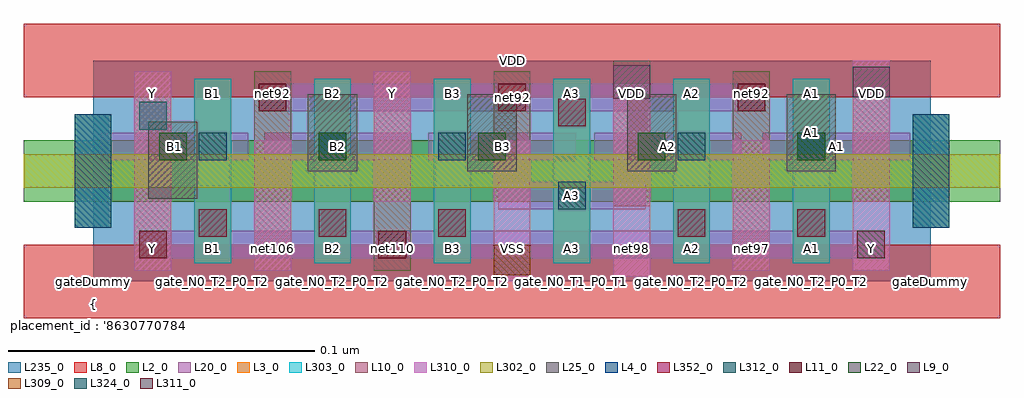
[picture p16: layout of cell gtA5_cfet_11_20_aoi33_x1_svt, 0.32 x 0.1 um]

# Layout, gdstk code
import gdstk
lib = gdstk.Library(unit=1e-6, precision=2.5e-10)
def R(c, l, rs):  # rectangles x0, y0, x1, y1
    for r in rs: c.add(gdstk.rectangle(r[:2], r[2:], *l))
def A(c, l, x, y, w, h, nx, ny, dx, dy):  # array of equal rectangles
    R(c, l, [(x+i*dx, y+j*dy, x+i*dx+w, y+j*dy+h) for i in range(nx) for j in range(ny)])
L2_0 = (2, 0)
L3_0 = (3, 0)
L4_0 = (4, 0)
L8_0 = (8, 0)
L9_0 = (9, 0)
L10_0 = (10, 0)
L11_0 = (11, 0)
L20_0 = (20, 0)
L22_0 = (22, 0)
L25_0 = (25, 0)
L235_0 = (235, 0)
L302_0 = (302, 0)
L303_0 = (303, 0)
L309_0 = (309, 0)
L310_0 = (310, 0)
L311_0 = (311, 0)
L312_0 = (312, 0)
L324_0 = (324, 0)
L352_0 = (352, 0)

gta5_cfet_11_20_aoi33_x1 = lib.new_cell('gtA5_cfet_11_20_aoi33_x1_svt')
R(gta5_cfet_11_20_aoi33_x1, L2_0, [(-0.0225,0.026,0.2955,0.046)])
A(gta5_cfet_11_20_aoi33_x1, L3_0, 0.033, 0.006, 0.012, 0.06, 6, 1, 0.039, 0)
R(gta5_cfet_11_20_aoi33_x1, L3_0, [(-0.006,0.0175,0.006,0.0545), (0.267,0.0175,0.279,0.0545)])
R(gta5_cfet_11_20_aoi33_x1, L4_0, [(-0.006,0.0175,0.006,0.0545), (0.267,0.0175,0.279,0.0545)])
R(gta5_cfet_11_20_aoi33_x1, L8_0, [(-0.0225,-0.012,0.2955,0.012), (-0.0225,0.06,0.2955,0.084)])
R(gta5_cfet_11_20_aoi33_x1, L9_0, [(0.1695,0.0595,0.1815,0.0705), (0.2475,0.06,0.2595,0.07)])
A(gta5_cfet_11_20_aoi33_x1, L10_0, 0.0135, 0.0035, 0.012, 0.065, 3, 1, 0.039, 0)
R(gta5_cfet_11_20_aoi33_x1, L10_0, [(0.2085,0.0035,0.2205,0.0685), (0.1695,0.0245,0.1815,0.072), (0.1305,0.026,0.1425,0.0685), (0.2475,0.026,0.2595,0.072)])
A(gta5_cfet_11_20_aoi33_x1, L11_0, 0.054, 0.0555, 0.009, 0.009, 3, 1, 0.078, 0)
R(gta5_cfet_11_20_aoi33_x1, L11_0, [(0.015,0.0075,0.024,0.0165), (0.093,0.0075,0.102,0.0165)])
R(gta5_cfet_11_20_aoi33_x1, L20_0, [(0.015,0.0075,0.258,0.0165), (0.132,0.0235,0.18,0.0325), (0.0025,0.0395,0.0505,0.0485), (0.0558,0.0395,0.1038,0.0485), (0.1092,0.0395,0.1573,0.0485), (0.1633,0.0395,0.2112,0.0485), (0.2182,0.0395,0.2662,0.0485), (0.054,0.0555,0.219,0.0645)])
A(gta5_cfet_11_20_aoi33_x1, L22_0, 0.0215, 0.0395, 0.009, 0.009, 5, 1, 0.052, 0)
A(gta5_cfet_11_20_aoi33_x1, L25_0, 0.07, 0.036, 0.016, 0.025, 4, 1, 0.052, 0)
R(gta5_cfet_11_20_aoi33_x1, L25_0, [(0.018,0.027,0.034,0.052)])
R(gta5_cfet_11_20_aoi33_x1, L235_0, [(0,0,0.273,0.072)])
R(gta5_cfet_11_20_aoi33_x1, L302_0, [(-0.0225,0.0305,0.2955,0.0415)])
A(gta5_cfet_11_20_aoi33_x1, L303_0, 0.033, 0.006, 0.012, 0.06, 6, 1, 0.039, 0)
R(gta5_cfet_11_20_aoi33_x1, L303_0, [(-0.006,0.0175,0.006,0.0545), (0.267,0.0175,0.279,0.0545)])
R(gta5_cfet_11_20_aoi33_x1, L309_0, [(0.1305,0.002,0.1425,0.012)])
R(gta5_cfet_11_20_aoi33_x1, L310_0, [(0.1305,0,0.1425,0.046), (0.1695,0.0015,0.1815,0.0705), (0.0135,0.0035,0.0255,0.0685), (0.0525,0.0035,0.0645,0.046), (0.2085,0.0035,0.2205,0.046), (0.2475,0.0035,0.2595,0.072), (0.0915,0.026,0.1035,0.0685)])
R(gta5_cfet_11_20_aoi33_x1, L311_0, [(0.249,0.0075,0.258,0.0165)])
A(gta5_cfet_11_20_aoi33_x1, L312_0, 0.0345, 0.0395, 0.009, 0.009, 3, 1, 0.039, 0)
R(gta5_cfet_11_20_aoi33_x1, L312_0, [(0.1515,0.0235,0.1605,0.0325), (0.1905,0.0395,0.1995,0.0485), (0.2295,0.0395,0.2385,0.0485)])
R(gta5_cfet_11_20_aoi33_x1, L324_0, [(0.015,0.0495,0.024,0.0585)])
A(gta5_cfet_11_20_aoi33_x1, L352_0, 0.0345, 0.0145, 0.009, 0.009, 3, 1, 0.039, 0)
R(gta5_cfet_11_20_aoi33_x1, L352_0, [(0.1905,0.0145,0.1995,0.0235), (0.2295,0.0145,0.2385,0.0235), (0.1515,0.0505,0.1605,0.0595)])
gta5_cfet_11_20_aoi33_x1.add(gdstk.Label('B1', (0.0265,0.044), layer=100, texttype=100))
gta5_cfet_11_20_aoi33_x1.add(gdstk.Label('B2', (0.0798,0.044), layer=100, texttype=100))
gta5_cfet_11_20_aoi33_x1.add(gdstk.Label('B3', (0.1333,0.044), layer=100, texttype=100))
gta5_cfet_11_20_aoi33_x1.add(gdstk.Label('A2', (0.1872,0.044), layer=100, texttype=100))
gta5_cfet_11_20_aoi33_x1.add(gdstk.Label('A1', (0.2422,0.044), layer=100, texttype=100))
gta5_cfet_11_20_aoi33_x1.add(gdstk.Label('net92', (0.1365,0.06), layer=100, texttype=100))
gta5_cfet_11_20_aoi33_x1.add(gdstk.Label('gateDummy', (0,0), layer=103, texttype=103))
gta5_cfet_11_20_aoi33_x1.add(gdstk.Label('sd_N0_T0_P0_T0', (0.0195,0), layer=103, texttype=103))
gta5_cfet_11_20_aoi33_x1.add(gdstk.Label('gate_N0_T2_P0_T2', (0.039,0), layer=103, texttype=103))
gta5_cfet_11_20_aoi33_x1.add(gdstk.Label('sd_N0_abut_P0_T3', (0.0585,0), layer=103, texttype=103))
gta5_cfet_11_20_aoi33_x1.add(gdstk.Label('gate_N0_T2_P0_T2', (0.078,0), layer=103, texttype=103))
gta5_cfet_11_20_aoi33_x1.add(gdstk.Label('sd_N0_abut_P0_T0', (0.0975,0), layer=103, texttype=103))
gta5_cfet_11_20_aoi33_x1.add(gdstk.Label('gate_N0_T2_P0_T2', (0.117,0), layer=103, texttype=103))
gta5_cfet_11_20_aoi33_x1.add(gdstk.Label('sd_N0_VSS_P0_T3', (0.1365,0), layer=103, texttype=103))
gta5_cfet_11_20_aoi33_x1.add(gdstk.Label('gate_N0_T1_P0_T1', (0.156,0), layer=103, texttype=103))
gta5_cfet_11_20_aoi33_x1.add(gdstk.Label('sd_P0_VDD', (0.1755,0), layer=103, texttype=103))
gta5_cfet_11_20_aoi33_x1.add(gdstk.Label('gate_N0_T2_P0_T2', (0.195,0), layer=103, texttype=103))
gta5_cfet_11_20_aoi33_x1.add(gdstk.Label('sd_N0_abut_P0_T3', (0.2145,0), layer=103, texttype=103))
gta5_cfet_11_20_aoi33_x1.add(gdstk.Label('gate_N0_T2_P0_T2', (0.234,0), layer=103, texttype=103))
gta5_cfet_11_20_aoi33_x1.add(gdstk.Label('sd_N0_T0_P0_VDD', (0.2535,0), layer=103, texttype=103))
gta5_cfet_11_20_aoi33_x1.add(gdstk.Label('gateDummy', (0.273,0), layer=103, texttype=103))
gta5_cfet_11_20_aoi33_x1.add(gdstk.Label('}', (0,-0.0785), layer=104, texttype=104))
gta5_cfet_11_20_aoi33_x1.add(gdstk.Label('  power : None', (0,-0.0713), layer=104, texttype=104))
gta5_cfet_11_20_aoi33_x1.add(gdstk.Label('  performance : None', (0,-0.0643), layer=104, texttype=104))
gta5_cfet_11_20_aoi33_x1.add(gdstk.Label("  solution_hash : '4875563966605678441'", (0,-0.057), layer=104, texttype=104))
gta5_cfet_11_20_aoi33_x1.add(gdstk.Label('  number_m2 : 0', (0,-0.05), layer=104, texttype=104))
gta5_cfet_11_20_aoi33_x1.add(gdstk.Label('  number_m1 : 5', (0,-0.0428), layer=104, texttype=104))
gta5_cfet_11_20_aoi33_x1.add(gdstk.Label('  number_m0cuts : 0', (0,-0.0358), layer=104, texttype=104))
gta5_cfet_11_20_aoi33_x1.add(gdstk.Label('  number_m0 : 8', (0,-0.0285), layer=104, texttype=104))
gta5_cfet_11_20_aoi33_x1.add(gdstk.Label("  solution_number : '0000'", (0,-0.0215), layer=104, texttype=104))
gta5_cfet_11_20_aoi33_x1.add(gdstk.Label("  placement_id : '8630770784587703532'", (0,-0.0143), layer=104, texttype=104))
gta5_cfet_11_20_aoi33_x1.add(gdstk.Label('{', (0,-0.0073), layer=104, texttype=104))
gta5_cfet_11_20_aoi33_x1.add(gdstk.Label('Y', (0.0195,0.0108), layer=105, texttype=105))
gta5_cfet_11_20_aoi33_x1.add(gdstk.Label('B1', (0.039,0.0108), layer=105, texttype=105))
gta5_cfet_11_20_aoi33_x1.add(gdstk.Label('net106', (0.0585,0.0108), layer=105, texttype=105))
gta5_cfet_11_20_aoi33_x1.add(gdstk.Label('B2', (0.078,0.0108), layer=105, texttype=105))
gta5_cfet_11_20_aoi33_x1.add(gdstk.Label('net110', (0.0975,0.0108), layer=105, texttype=105))
gta5_cfet_11_20_aoi33_x1.add(gdstk.Label('B3', (0.117,0.0108), layer=105, texttype=105))
gta5_cfet_11_20_aoi33_x1.add(gdstk.Label('VSS', (0.1365,0.0108), layer=105, texttype=105))
gta5_cfet_11_20_aoi33_x1.add(gdstk.Label('A3', (0.156,0.0108), layer=105, texttype=105))
gta5_cfet_11_20_aoi33_x1.add(gdstk.Label('net98', (0.1755,0.0108), layer=105, texttype=105))
gta5_cfet_11_20_aoi33_x1.add(gdstk.Label('A2', (0.195,0.0108), layer=105, texttype=105))
gta5_cfet_11_20_aoi33_x1.add(gdstk.Label('net97', (0.2145,0.0108), layer=105, texttype=105))
gta5_cfet_11_20_aoi33_x1.add(gdstk.Label('A1', (0.234,0.0108), layer=105, texttype=105))
gta5_cfet_11_20_aoi33_x1.add(gdstk.Label('Y', (0.2535,0.0108), layer=105, texttype=105))
gta5_cfet_11_20_aoi33_x1.add(gdstk.Label('Y', (0.0195,0.0612), layer=105, texttype=105))
gta5_cfet_11_20_aoi33_x1.add(gdstk.Label('B1', (0.039,0.0612), layer=105, texttype=105))
gta5_cfet_11_20_aoi33_x1.add(gdstk.Label('net92', (0.0585,0.0612), layer=105, texttype=105))
gta5_cfet_11_20_aoi33_x1.add(gdstk.Label('B2', (0.078,0.0612), layer=105, texttype=105))
gta5_cfet_11_20_aoi33_x1.add(gdstk.Label('Y', (0.0975,0.0612), layer=105, texttype=105))
gta5_cfet_11_20_aoi33_x1.add(gdstk.Label('B3', (0.117,0.0612), layer=105, texttype=105))
gta5_cfet_11_20_aoi33_x1.add(gdstk.Label('net92', (0.1365,0.0612), layer=105, texttype=105))
gta5_cfet_11_20_aoi33_x1.add(gdstk.Label('A3', (0.156,0.0612), layer=105, texttype=105))
gta5_cfet_11_20_aoi33_x1.add(gdstk.Label('VDD', (0.1755,0.0612), layer=105, texttype=105))
gta5_cfet_11_20_aoi33_x1.add(gdstk.Label('A2', (0.195,0.0612), layer=105, texttype=105))
gta5_cfet_11_20_aoi33_x1.add(gdstk.Label('net92', (0.2145,0.0612), layer=105, texttype=105))
gta5_cfet_11_20_aoi33_x1.add(gdstk.Label('A1', (0.234,0.0612), layer=105, texttype=105))
gta5_cfet_11_20_aoi33_x1.add(gdstk.Label('VDD', (0.2535,0.0612), layer=105, texttype=105))
gta5_cfet_11_20_aoi33_x1.add(gdstk.Label('VSS', (0.1365,0), layer=8, texttype=0))
gta5_cfet_11_20_aoi33_x1.add(gdstk.Label('VDD', (0.1365,0.072), layer=8, texttype=0))
gta5_cfet_11_20_aoi33_x1.add(gdstk.Label('Y', (0.1365,0.012), layer=20, texttype=251))
gta5_cfet_11_20_aoi33_x1.add(gdstk.Label('A3', (0.156,0.028), layer=20, texttype=251))
gta5_cfet_11_20_aoi33_x1.add(gdstk.Label('B1', (0.026,0.0395), layer=25, texttype=0))
gta5_cfet_11_20_aoi33_x1.add(gdstk.Label('B2', (0.078,0.0485), layer=25, texttype=0))
gta5_cfet_11_20_aoi33_x1.add(gdstk.Label('B3', (0.13,0.0485), layer=25, texttype=0))
gta5_cfet_11_20_aoi33_x1.add(gdstk.Label('A2', (0.182,0.0485), layer=25, texttype=0))
gta5_cfet_11_20_aoi33_x1.add(gdstk.Label('A1', (0.234,0.0485), layer=25, texttype=0))
gta5_cfet_11_20_aoi33_x1.add(gdstk.Label('gtA5_cfet_11_20_aoi33_x1_rvt_0', (0,0), layer=235, texttype=0))

lib.write_gds('gtA5_cfet_11_20_aoi33_x1_svt.gds')
